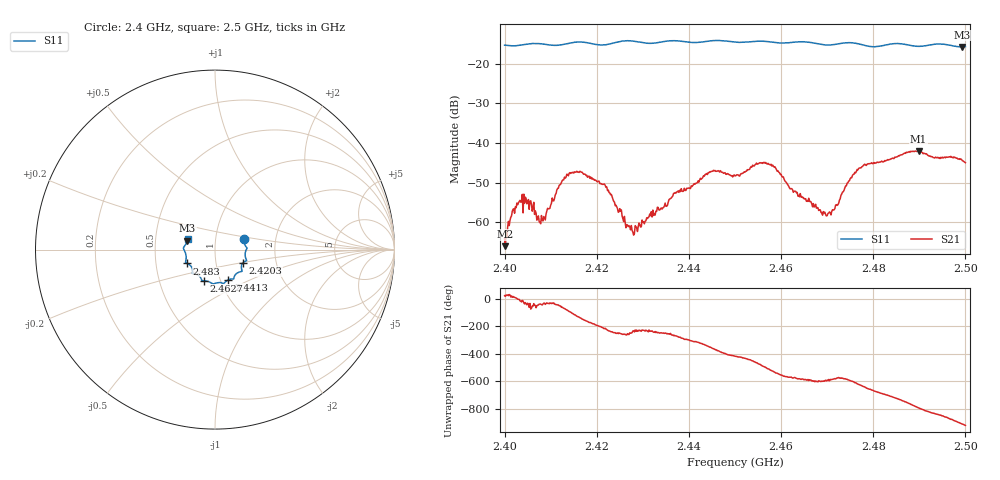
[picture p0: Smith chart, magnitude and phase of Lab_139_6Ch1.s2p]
# Hz S RI R 50
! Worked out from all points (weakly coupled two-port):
!   601 points, 2.4 GHz to 2.5 GHz, reference 50 ohm
!   highest |S21| = -42.02 dB at 2.4898 GHz (marker M1); lowest = -66.0 dB at 2.4002 GHz (marker M2)
!   lowest |S11| = -15.8 dB at 2.4993 GHz (marker M3), VSWR 1.39, Z = 36.5 + j3.73 ohm
!   |S11| at or under -10 dB: start of sweep to end of sweep
!   S12 and S22 are empty: the file has one direction only
!   S11 on the Smith chart (normalised r, x): 2.4 GHz: 1.37, +0.16; 2.4203 GHz: 1.35, -0.21; 2.4413 GHz: 1.09, -0.38; 2.4627 GHz: 0.83, -0.30; 2.483 GHz: 0.72, -0.11; 2.5 GHz: 0.73, +0.09
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2.4e9  0.1605 0.0571  0.000578 0.000244  0 0  0 0
2.400167e9  0.1606 0.0554  0.000477 0.000152  0 0  0 0
2.403333e9  0.1686 0.023  0.00183 -0.00048  0 0  0 0
2.408e9  0.1768 0.00396  0.000901 -0.000819  0 0  0 0
2.413e9  0.1699 -0.0427  0.00118 -0.00351  0 0  0 0
2.416667e9  0.1762 -0.0614  -0.00343 -0.00256  0 0  0 0
2.420333e9  0.1553 -0.074  -0.00316 0.000961  0 0  0 0
2.427667e9  0.1494 -0.1213  -0.000323 0.000721  0 0  0 0
2.433333e9  0.108 -0.1485  -0.000644 0.00139  0 0  0 0
2.441333e9  0.0744 -0.168  0.00205 0.00222  0 0  0 0
2.445167e9  0.0519 -0.187  0.00441 -0.000147  0 0  0 0
2.45e9  0.0293 -0.1837  0.00201 -0.00327  0 0  0 0
2.456667e9  -0.0152 -0.1894  -0.00433 -0.00366  0 0  0 0
2.462667e9  -0.0619 -0.1747  -0.00192 0.00142  0 0  0 0
2.466667e9  -0.0741 -0.1675  -0.000895 0.00145  0 0  0 0
2.470333e9  -0.0954 -0.1416  -0.000879 0.000971  0 0  0 0
2.4765e9  -0.1248 -0.1276  -0.000896 0.00454  0 0  0 0
2.483e9  -0.1547 -0.0768  0.00575 0.00196  0 0  0 0
2.483333e9  -0.1568 -0.0757  0.0059 0.00152  0 0  0 0
2.489833e9  -0.1617 -0.0306  0.00195 -0.00768  0 0  0 0
2.499333e9  -0.1542 0.0497  -0.00581 0.00138  0 0  0 0
2.5e9  -0.1526 0.0586  -0.00518 0.00222  0 0  0 0
